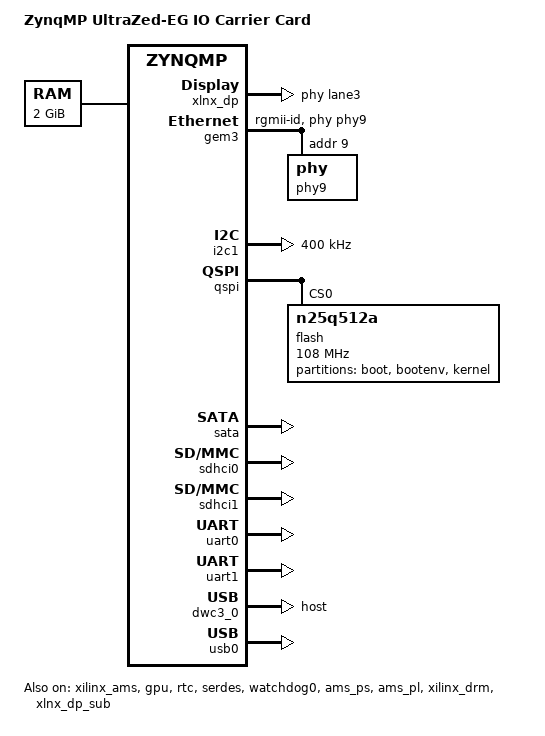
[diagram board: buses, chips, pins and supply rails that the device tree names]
/*
*/
/dts-v1/;
/include/ "zynqmp.dtsi"
/include/ "zynqmp-clk-ccf.dtsi"
/ {
	model = "ZynqMP UltraZed-EG IO Carrier Card";
	compatible = "xlnx,zynqmp-uz3eg-iocc", "xlnx,zynqmp";

	chosen {
		bootargs = "earlycon clk_ignore_unused";
		stdout-path = "serial0:115200n8";
	};
	aliases {
		ethernet0 = &gem3;
		serial0 = &uart0;
		serial1 = &uart1;
		spi0 = &qspi;
	};
	memory {
		device_type = "memory";
		reg = <0x0 0x0 0x0 0x80000000>;
	};

	cpus {
	};

	amba_pl: amba_pl@0 {
		#address-cells = <2>;
		#size-cells = <2>;
		compatible = "simple-bus";
		ranges ;
	};
};

&lpd_dma_chan1 {
	status = "okay";
};
&lpd_dma_chan2 {
	status = "okay";
};
&lpd_dma_chan3 {
	status = "okay";
};
&lpd_dma_chan4 {
	status = "okay";
};
&lpd_dma_chan5 {
	status = "okay";
};
&lpd_dma_chan6 {
	status = "okay";
};
&lpd_dma_chan7 {
	status = "okay";
};
&lpd_dma_chan8 {
	status = "okay";
};
&xilinx_ams {
	status = "okay";
};
&xlnx_dp {
	phy-names = "dp-phy0","dp-phy1";
	phys = <&lane3 5 0 3 27000000>,
		<&lane2 5 1 3 27000000>;
	status = "okay";
	xlnx,max-lanes = <2>;
};
&xlnx_dpdma {
	status = "okay";
};
&gem3 {
	status = "okay";
	xlnx,ptp-enet-clock = <0x0>;
	phy-mode = "rgmii-id";
	phy-handle = <&phy9>;
	phy9: phy@9 {
		reg = <0x9>;
		ti,rx-internal-delay = <0x8>;
		ti,tx-internal-delay = <0xa>;
		ti,fifo-depth = <0x1>;
		ti,rxctrl-strap-worka;
	};
};
&fpd_dma_chan1 {
	status = "okay";
};
&fpd_dma_chan2 {
	status = "okay";
};
&fpd_dma_chan3 {
	status = "okay";
};
&fpd_dma_chan4 {
	status = "okay";
};
&fpd_dma_chan5 {
	status = "okay";
};
&fpd_dma_chan6 {
	status = "okay";
};
&fpd_dma_chan7 {
	status = "okay";
};
&fpd_dma_chan8 {
	status = "okay";
};
&gpio {
	emio-gpio-width = <32>;
	gpio-mask-high = <0x0>;
	gpio-mask-low = <0x5600>;
	status = "okay";
};
&gpu {
	status = "okay";
};
&i2c1 {
	clock-frequency = <400000>;
	status = "okay";
};
&pinctrl0 {
	status = "okay";
};
&qspi {
	is-dual = <1>;
	num-cs = <1>;
	status = "okay";
	spi-rx-bus-width = <0x4>;
	spi-tx-bus-width = <0x4>;
	flash@0 {
		compatible = "n25q512a", "micron,m25p80";
		spi-tx-bus-width = <0x1>;
		spi-rx-bus-width = <0x4>;
		reg = <0x0>;
		#address-cells = <0x1>;
		#size-cells = <0x1>;
		spi-max-frequency = <0x66ff300>;

		partition@0x00000000 {
			label = "boot";
			reg = <0x0 0x100000>;
		};

		partition@0x00100000 {
			label = "bootenv";
			reg = <0x100000 0x40000>;
		};

		partition@0x00140000 {
			label = "kernel";
			reg = <0x140000 0x1600000>;
		};
	};
};
&rtc {
	status = "okay";
};
&sata {
	ceva,p0-burst-params = "/bits/ 8 <0x13 0x08 0x4A 0x06>";
	ceva,p0-cominit-params = "/bits/ 8 <0x18 0x40 0x18 0x28>";
	ceva,p0-comwake-params = "/bits/ 8 <0x06 0x14 0x08 0x0E>";
	ceva,p0-retry-params = "/bits/ 16 <0x96A4 0x3FFC>";
	status = "okay";
};
&sdhci0 {
	clock-frequency = <199998000>;
	status = "okay";
	xlnx,mio_bank = <0x0>;
	disable-wp;
};
&sdhci1 {
	clock-frequency = <199998000>;
	status = "okay";
	xlnx,mio_bank = <0x1>;
	max-frequency = <50000000>;
	no-1-8-v;
	disable-wp;
};
&serdes {
	status = "okay";
};
&uart0 {
	device_type = "serial";
	port-number = <0>;
	status = "okay";
	u-boot,dm-pre-reloc ;
};
&uart1 {
	device_type = "serial";
	port-number = <1>;
	status = "okay";
	u-boot,dm-pre-reloc ;
};
&dwc3_0 {
	dr_mode = "host";
	status = "okay";
};
&watchdog0 {
	status = "okay";
};
&ams_ps {
	status = "okay";
};
&ams_pl {
	status = "okay";
};
&xilinx_drm {
	status = "okay";
};
&xlnx_dp_sub {
	status = "okay";
};
&xlnx_dp_snd_pcm0 {
	status = "disabled";
};
&xlnx_dp_snd_pcm1 {
	status = "disabled";
};
&xlnx_dp_snd_card {
	status = "disabled";
};
&xlnx_dp_snd_codec0 {
	status = "disabled";
};
&usb0 {
	status = "okay";
};
